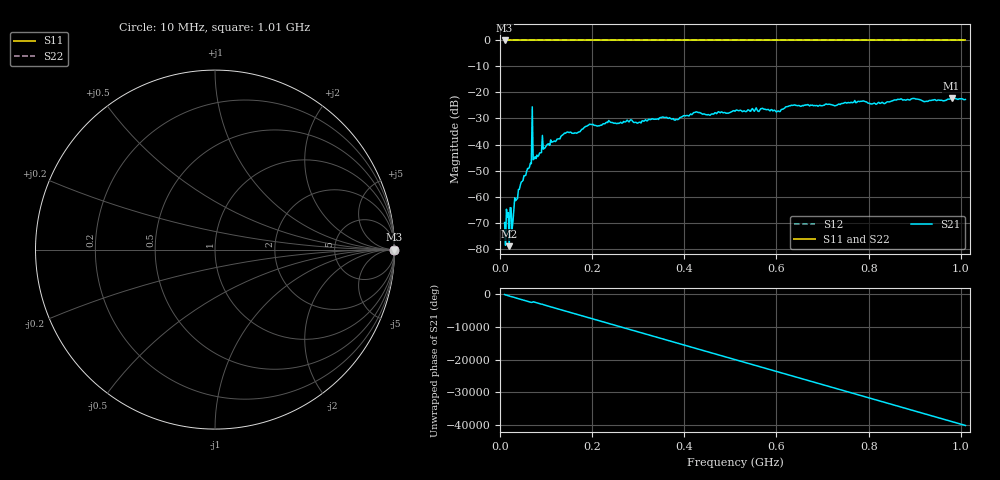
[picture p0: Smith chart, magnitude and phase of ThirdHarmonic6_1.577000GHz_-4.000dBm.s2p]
! 8/16/2025 6:45:34 PM
! C:\ANRITSUVNA\TEMP\TEMP.S2P
! CHANNEL.1
! TR.MEASUREMENT
! RAW.DATA
! RF.CORRECTION.OFF
! AVERAGING.OFF
! IF.BANDWIDTH: 5KHZ
! SWEEPTYPE:  FREQ.SWEEP(Linear)
! Reference Plane Port Info
! PORT:  PORT1  PORT2
! DISTANCE:  0  m  0  m
! TIME:  0  s  0  s
! PHASE.OFFSET:  0  deg.  0  deg.
! LOSS:  0  dB  0  dB
! REF.LOSS:  0  dB  0  dB
! REF.FREQ:  0  Hz  0  Hz
! Power Info
! POWER:  -20  dBm  -20  dBm
! EFF.POWER:  -20  dBm  -20  dBm
! SOURCE.ATTEN:  0  dB  0  dB
! TEST.ATTEN:  0  dB  0  dB
# GHZ S RI R 50.0
! FREQ.GHZ  S11RE  S11IM  S21RE  S21IM  S12RE  S12IM  S22RE  S22IM
!; PortSelection: Port_12
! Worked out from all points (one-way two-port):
!   501 points, 10 MHz to 1.01 GHz, reference 50 ohm
!   highest |S21| = -22.24 dB at 980 MHz (marker M1); lowest = -79.1 dB at 20 MHz (marker M2)
!   lowest |S11| = 0.0 dB at 10 MHz (marker M3)
!   |S11| at or under -10 dB: nowhere
!   |S22| runs from 0.0 to 0.0 dB; largest |S21 - S12| = 1.1
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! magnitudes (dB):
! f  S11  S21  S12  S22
! 10 MHz  0.0  -70.0  0.0  0.0
! 14 MHz  0.0  -64.9  0.0  0.0
! 16 MHz  0.0  -67.9  0.0  0.0
! 20 MHz  0.0  -79.1  0.0  0.0
! 24 MHz  0.0  -64.4  0.0  0.0
! 36 MHz  0.0  -61.1  0.0  0.0
! 64 MHz  0.0  -48.7  0.0  0.0
! 66 MHz  0.0  -47.2  0.0  0.0
! 72 MHz  0.0  -45.8  0.0  0.0
! 74 MHz  0.0  -45.5  0.0  0.0
! 76 MHz  0.0  -44.7  0.0  0.0
! 96 MHz  0.0  -41.5  0.0  0.0
! 178 MHz  0.0  -34.1  0.0  0.0
! 234 MHz  0.0  -31.5  0.0  0.0
! 344 MHz  0.0  -30.4  0.0  0.0
! 510 MHz  0.0  -27.2  0.0  0.0
! 604 MHz  0.0  -27.1  0.0  0.0
! 632 MHz  0.0  -24.9  0.0  0.0
! 678 MHz  0.0  -24.9  0.0  0.0
! 844 MHz  0.0  -23.6  0.0  0.0
! 980 MHz  0.0  -22.2  0.0  0.0
! 1.01 GHz  0.0  -22.7  0.0  0.0
